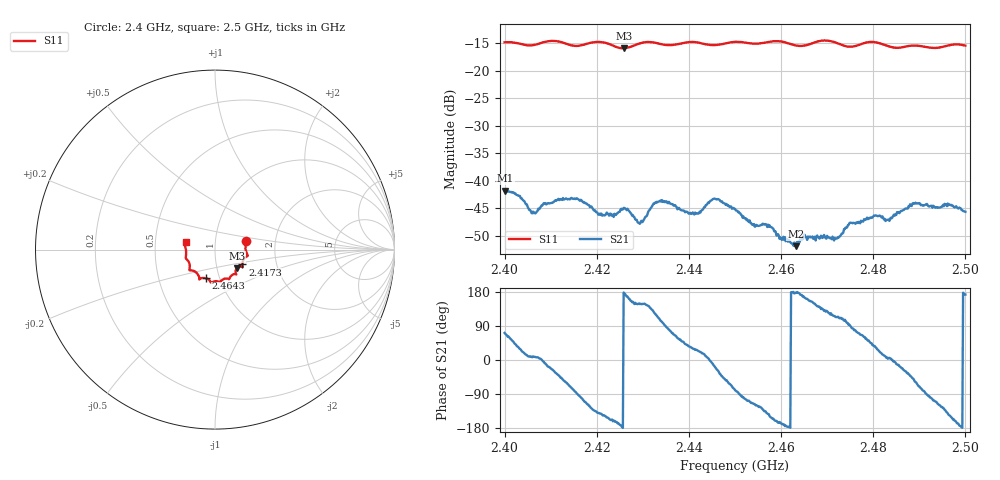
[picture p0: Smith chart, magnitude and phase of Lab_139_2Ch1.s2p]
# Hz S RI R
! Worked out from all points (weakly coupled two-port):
!   601 points, 2.4 GHz to 2.5 GHz, reference 50 ohm
!   highest |S21| = -41.82 dB at 2.4002 GHz (marker M1); lowest = -51.9 dB at 2.4632 GHz (marker M2)
!   lowest |S11| = -15.9 dB at 2.4258 GHz (marker M3), VSWR 1.38, Z = 62.2 - j13.3 ohm
!   |S11| at or under -10 dB: start of sweep to end of sweep
!   S12 and S22 are empty: the file has one direction only
!   S11 on the Smith chart (normalised r, x): 2.4 GHz: 1.41, +0.14; 2.4173 GHz: 1.34, -0.23; 2.4643 GHz: 0.86, -0.28; 2.5 GHz: 0.72, +0.06
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2.4e9  0.1741 0.0492  0.00259 0.00767  0 0  0 0
2.400167e9  0.1746 0.0486  0.0029 0.00757  0 0  0 0
2.402833e9  0.1741 0.0354  0.00603 0.00428  0 0  0 0
2.406333e9  0.1711 -0.00337  0.00502 0.000713  0 0  0 0
2.411833e9  0.1805 -0.036  0.00495 -0.00444  0 0  0 0
2.416667e9  0.1528 -0.075  -0.00119 -0.00655  0 0  0 0
2.417333e9  0.1522 -0.0825  -0.00215 -0.00588  0 0  0 0
2.421333e9  0.154 -0.0959  -0.00407 -0.00269  0 0  0 0
2.425833e9  0.1213 -0.1038  -0.00565 0.000191  0 0  0 0
2.4295e9  0.1167 -0.1345  -0.00355 0.00218  0 0  0 0
2.433333e9  0.1124 -0.1363  -0.00239 0.00599  0 0  0 0
2.4415e9  0.0766 -0.1644  0.00444 0.00229  0 0  0 0
2.445833e9  0.048 -0.1643  0.00634 -0.00248  0 0  0 0
2.45e9  0.0293 -0.1807  0.00104 -0.00544  0 0  0 0
2.463167e9  -0.0377 -0.1653  -0.00254 9.77e-05  0 0  0 0
2.464333e9  -0.0501 -0.1602  -0.00287 0.00042  0 0  0 0
2.466667e9  -0.0762 -0.1594  -0.00277 0.00134  0 0  0 0
2.471833e9  -0.0873 -0.1576  -0.00118 0.00274  0 0  0 0
2.475333e9  -0.1096 -0.1235  0.000422 0.00412  0 0  0 0
2.483333e9  -0.1405 -0.0895  0.00441 0.000419  0 0  0 0
2.489e9  -0.1628 -0.0463  0.00343 -0.00516  0 0  0 0
2.5e9  -0.1637 0.0416  -0.00517 0.000657  0 0  0 0
